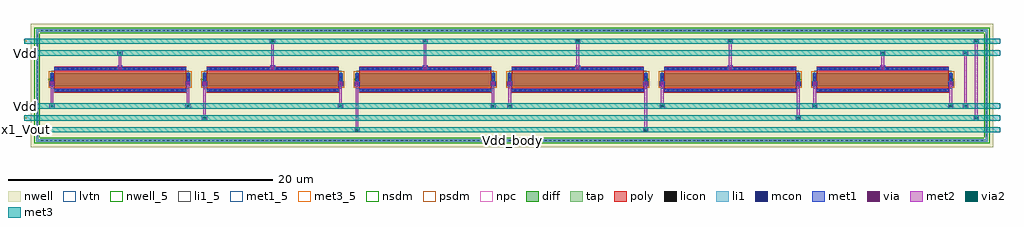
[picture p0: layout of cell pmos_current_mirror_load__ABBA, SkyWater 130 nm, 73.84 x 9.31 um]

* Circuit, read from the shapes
.subckt pmos_current_mirror_load__ABBA Vdd Vdd_body x1_Vout x1_net9
XM1 Vdd Vdd Vdd Vdd_body sky130_fd_pr__pfet_01v8_lvt w=1 l=10 m=2
XM2 Vdd x1_net9 x1_net9 Vdd_body sky130_fd_pr__pfet_01v8_lvt w=1 l=10 m=2
XM3 Vdd x1_net9 x1_Vout Vdd_body sky130_fd_pr__pfet_01v8_lvt w=1 l=10 m=2
.ends

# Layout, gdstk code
from math import pi, radians
import gdstk
lib = gdstk.Library(unit=1e-6, precision=1e-09)
def R(c, l, rs):  # rectangles x0, y0, x1, y1
    for r in rs: c.add(gdstk.rectangle(r[:2], r[2:], *l))
def A(c, l, x, y, w, h, nx, ny, dx, dy):  # array of equal rectangles
    R(c, l, [(x+i*dx, y+j*dy, x+i*dx+w, y+j*dy+h) for i in range(nx) for j in range(ny)])
nwell_5 = (64, 5)
nwell = (64, 20)
diff = (65, 20)
tap = (65, 44)
poly = (66, 20)
licon = (66, 44)
li1_5 = (67, 5)
li1 = (67, 20)
mcon = (67, 44)
met1_5 = (68, 5)
met1 = (68, 20)
via = (68, 44)
met2 = (69, 20)
via2 = (69, 44)
met3_5 = (70, 5)
met3 = (70, 20)
nsdm = (93, 44)
psdm = (94, 20)
npc = (95, 20)
lvtn = (125, 44)

sky130_fd_pr__pfet_01v8_ = lib.new_cell('sky130_fd_pr__pfet_01v8_lvt_5FXXCR')
R(sky130_fd_pr__pfet_01v8_, nwell, [(-5.47,-1,5.47,1)])
R(sky130_fd_pr__pfet_01v8_, diff, [(-5.29,-0.5,5.29,0.5)])
R(sky130_fd_pr__pfet_01v8_, poly, [(-5,-0.985,5,0.985)])
A(sky130_fd_pr__pfet_01v8_, licon, -4.845, -0.905, 0.17, 0.17, 29, 2, 0.34, 1.64)
A(sky130_fd_pr__pfet_01v8_, licon, -5.23, -0.425, 0.17, 0.17, 1, 3, 0, 0.34)
A(sky130_fd_pr__pfet_01v8_, licon, 5.06, -0.425, 0.17, 0.17, 1, 3, 0, 0.34)
R(sky130_fd_pr__pfet_01v8_, li1, [(-5,-0.905,5,-0.735), (-5.23,-0.52,-5.06,0.52), (5.06,-0.52,5.23,0.52), (-5,0.735,5,0.905)])
A(sky130_fd_pr__pfet_01v8_, mcon, -4.765, -0.905, 0.17, 0.17, 27, 2, 0.36, 1.64)
R(sky130_fd_pr__pfet_01v8_, mcon, [(-5.23,-0.265,-5.06,-0.095), (5.06,-0.265,5.23,-0.095), (-5.23,0.095,-5.06,0.265), (5.06,0.095,5.23,0.265)])
R(sky130_fd_pr__pfet_01v8_, met1, [(-4.98,-0.935,4.98,-0.705), (-5.26,-0.5,-5.03,0.5), (5.03,-0.5,5.26,0.5), (-4.98,0.705,4.98,0.935)])
R(sky130_fd_pr__pfet_01v8_, psdm, [(-5.415,-0.625,5.415,0.625)])
R(sky130_fd_pr__pfet_01v8_, npc, [(-4.945,-1.005,4.945,-0.635), (-4.945,0.635,4.945,1.005)])
R(sky130_fd_pr__pfet_01v8_, lvtn, [(-5.18,-0.68,5.18,0.68)])
sky130_fd_pr__pfet_01v8_.add(gdstk.Label('D', (-5.145,0), layer=67, texttype=5))
sky130_fd_pr__pfet_01v8_.add(gdstk.Label('S', (5.145,0), layer=67, texttype=5))
sky130_fd_pr__pfet_01v8_.add(gdstk.Label('G', (0,0.82), layer=67, texttype=5))

pfet_01v8_lvt_w1_l10_m2_ = lib.new_cell('pfet_01v8_lvt_W1_L10_m2__nf1_gboth_sdfull_ng')
R(pfet_01v8_lvt_w1_l10_m2_, nwell_5, [(0.05,0.95,0.15,1.05)])
R(pfet_01v8_lvt_w1_l10_m2_, nwell, [(0.05,0.95,0.15,1.05)])
R(pfet_01v8_lvt_w1_l10_m2_, met1_5, [(0.21,1,0.44,1.2), (10.5,1,10.73,1.2), (0.49,1.705,10.45,1.935)])
R(pfet_01v8_lvt_w1_l10_m2_, met1, [(0.21,1,0.44,1.2), (10.5,1,10.73,1.2), (0.49,1.705,10.45,1.935)])
pfet_01v8_lvt_w1_l10_m2_.add(gdstk.Reference(sky130_fd_pr__pfet_01v8_, (5.47,1)))
pfet_01v8_lvt_w1_l10_m2_.add(gdstk.Label('D', (0.325,1.1), layer=68, texttype=5))
pfet_01v8_lvt_w1_l10_m2_.add(gdstk.Label('S', (10.615,1.1), layer=68, texttype=5))
pfet_01v8_lvt_w1_l10_m2_.add(gdstk.Label('G', (5.47,1.82), layer=68, texttype=5))
pfet_01v8_lvt_w1_l10_m2_.add(gdstk.Label('B', (0.1,1), layer=64, texttype=5))

pmos_current_mirror_load = lib.new_cell('pmos_current_mirror_load__ABBA')
R(pmos_current_mirror_load, nwell, [(-1.3,-4.1,71.54,5.21)])
R(pmos_current_mirror_load, tap, [(-0.885,-3.685,71.125,-3.515), (-0.885,-3.515,-0.715,4.625), (70.955,-3.515,71.125,4.625), (-0.885,4.625,71.125,4.795)])
A(pmos_current_mirror_load, licon, -0.495, -3.685, 0.17, 0.17, 210, 2, 0.34, 8.31)
A(pmos_current_mirror_load, licon, -0.885, -3.27, 0.17, 0.17, 1, 23, 0, 0.34)
A(pmos_current_mirror_load, licon, 70.955, -3.27, 0.17, 0.17, 1, 23, 0, 0.34)
R(pmos_current_mirror_load, li1_5, [(35.07,-3.65,35.17,-3.55)])
R(pmos_current_mirror_load, li1, [(-0.885,-3.685,71.125,-3.515), (-0.885,-3.515,-0.715,4.625), (70.955,-3.515,71.125,4.625), (-0.885,4.625,71.125,4.795)])
A(pmos_current_mirror_load, met1, 5.29, 1.735, 0.36, 0.36, 6, 1, 11.54, 0)
R(pmos_current_mirror_load, met1, [(0.145,0.5,0.505,0.86), (10.435,0.5,10.795,0.86), (11.685,0.5,12.045,0.86), (21.975,0.5,22.335,0.86), (23.225,0.5,23.585,0.86), (33.515,0.5,33.875,0.86), (34.765,0.5,35.125,0.86), (45.055,0.5,45.415,0.86), (46.305,0.5,46.665,0.86), (56.595,0.5,56.955,0.86), (57.845,0.5,58.205,0.86), (68.135,0.5,68.495,0.86)])
A(pmos_current_mirror_load, via, 5.395, 1.84, 0.15, 0.15, 6, 1, 11.54, 0)
R(pmos_current_mirror_load, via, [(0.25,0.605,0.4,0.755), (10.54,0.605,10.69,0.755), (11.79,0.605,11.94,0.755), (22.08,0.605,22.23,0.755), (23.33,0.605,23.48,0.755), (33.62,0.605,33.77,0.755), (34.87,0.605,35.02,0.755), (45.16,0.605,45.31,0.755), (46.41,0.605,46.56,0.755), (56.7,0.605,56.85,0.755), (57.95,0.605,58.1,0.755), (68.24,0.605,68.39,0.755)])
A(pmos_current_mirror_load, met2, 10.415, -1.2, 0.4, 0.4, 3, 1, 11.54, 0)
A(pmos_current_mirror_load, met2, 34.745, -1.2, 0.4, 0.4, 3, 1, 11.54, 0)
A(pmos_current_mirror_load, met2, 10.515, -0.8, 0.2, 1.32, 3, 1, 11.54, 0)
A(pmos_current_mirror_load, met2, 34.845, -0.8, 0.2, 1.32, 3, 1, 11.54, 0)
A(pmos_current_mirror_load, met2, 5.34, 1.755, 0.26, 0.32, 6, 1, 11.54, 0)
A(pmos_current_mirror_load, met2, 16.91, 2.075, 0.2, 1.635, 4, 1, 11.54, 0)
A(pmos_current_mirror_load, met2, 16.81, 3.71, 0.4, 0.4, 4, 1, 11.54, 0)
R(pmos_current_mirror_load, met2, [(23.205,-3,23.605,-2.6), (45.035,-3,45.435,-2.6), (23.305,-2.6,23.505,0.52), (45.135,-2.6,45.335,0.52), (11.665,-2.1,12.065,-1.7), (56.575,-2.1,56.975,-1.7), (70.04,-2.1,70.44,-1.7), (11.765,-1.7,11.965,0.52), (56.675,-1.7,56.875,0.52), (70.14,-1.7,70.34,3.71), (0.125,-1.2,0.525,-0.8), (68.115,-1.2,68.515,-0.8), (69.24,-1.2,69.64,-0.8), (0.225,-0.8,0.425,0.52), (68.215,-0.8,68.415,0.52), (69.34,-0.8,69.54,2.81), (0.195,0.52,0.455,0.84), (10.485,0.52,10.745,0.84), (11.735,0.52,11.995,0.84), (22.025,0.52,22.285,0.84), (23.275,0.52,23.535,0.84), (33.565,0.52,33.825,0.84), (34.815,0.52,35.075,0.84), (45.105,0.52,45.365,0.84), (46.355,0.52,46.615,0.84), (56.645,0.52,56.905,0.84), (57.895,0.52,58.155,0.84), (68.185,0.52,68.445,0.84), (5.37,2.075,5.57,2.81), (63.07,2.075,63.27,2.81), (5.27,2.81,5.67,3.21), (62.97,2.81,63.37,3.21), (69.24,2.81,69.64,3.21), (70.04,3.71,70.44,4.11)])
A(pmos_current_mirror_load, via2, 10.515, -1.1, 0.2, 0.2, 3, 1, 11.54, 0)
A(pmos_current_mirror_load, via2, 34.845, -1.1, 0.2, 0.2, 3, 1, 11.54, 0)
A(pmos_current_mirror_load, via2, 16.91, 3.81, 0.2, 0.2, 4, 1, 11.54, 0)
R(pmos_current_mirror_load, via2, [(23.305,-2.9,23.505,-2.7), (45.135,-2.9,45.335,-2.7), (11.765,-2,11.965,-1.8), (56.675,-2,56.875,-1.8), (70.14,-2,70.34,-1.8), (0.225,-1.1,0.425,-0.9), (68.215,-1.1,68.415,-0.9), (69.34,-1.1,69.54,-0.9), (5.37,2.91,5.57,3.11), (63.07,2.91,63.27,3.11), (69.34,2.91,69.54,3.11), (70.14,3.81,70.34,4.01)])
A(pmos_current_mirror_load, met3_5, -1.7, -2.85, 0.1, 0.1, 1, 3, 0, 0.9)
R(pmos_current_mirror_load, met3_5, [(-1.7,2.96,-1.6,3.06), (-1.7,3.86,-1.6,3.96)])
A(pmos_current_mirror_load, met3, -1.8, -3, 73.84, 0.4, 1, 3, 0, 0.9)
R(pmos_current_mirror_load, met3, [(-1.8,2.81,72.04,3.21), (-1.8,3.71,72.04,4.11)])
R(pmos_current_mirror_load, nsdm, [(-1.01,-3.81,71.25,-3.39), (-1.01,-3.39,-0.59,4.5), (70.83,-3.39,71.25,4.5), (-1.01,4.5,71.25,4.92)])
pmos_current_mirror_load.add(gdstk.Reference(pfet_01v8_lvt_w1_l10_m2_, (68.64,0), rotation=pi, x_reflection=True))
pmos_current_mirror_load.add(gdstk.Reference(pfet_01v8_lvt_w1_l10_m2_, (57.1,0), rotation=pi, x_reflection=True))
pmos_current_mirror_load.add(gdstk.Reference(pfet_01v8_lvt_w1_l10_m2_, (45.56,0), rotation=pi, x_reflection=True))
pmos_current_mirror_load.add(gdstk.Reference(pfet_01v8_lvt_w1_l10_m2_, (23.08,0)))
pmos_current_mirror_load.add(gdstk.Reference(pfet_01v8_lvt_w1_l10_m2_, (11.54,0)))
pmos_current_mirror_load.add(gdstk.Reference(pfet_01v8_lvt_w1_l10_m2_, (0,0)))
pmos_current_mirror_load.add(gdstk.Label('Vdd', (-1.65,3.01), layer=70, texttype=5))
pmos_current_mirror_load.add(gdstk.Label('x1_net9', (-1.65,3.91), layer=70, texttype=5))
pmos_current_mirror_load.add(gdstk.Label('Vdd', (-1.65,-1), layer=70, texttype=5))
pmos_current_mirror_load.add(gdstk.Label('x1_net9', (-1.65,-1.9), layer=70, texttype=5))
pmos_current_mirror_load.add(gdstk.Label('x1_Vout', (-1.65,-2.8), layer=70, texttype=5))
pmos_current_mirror_load.add(gdstk.Label('Vdd_body', (35.12,-3.6), layer=67, texttype=5))

lib.write_gds('pmos_current_mirror_load__ABBA.gds')
